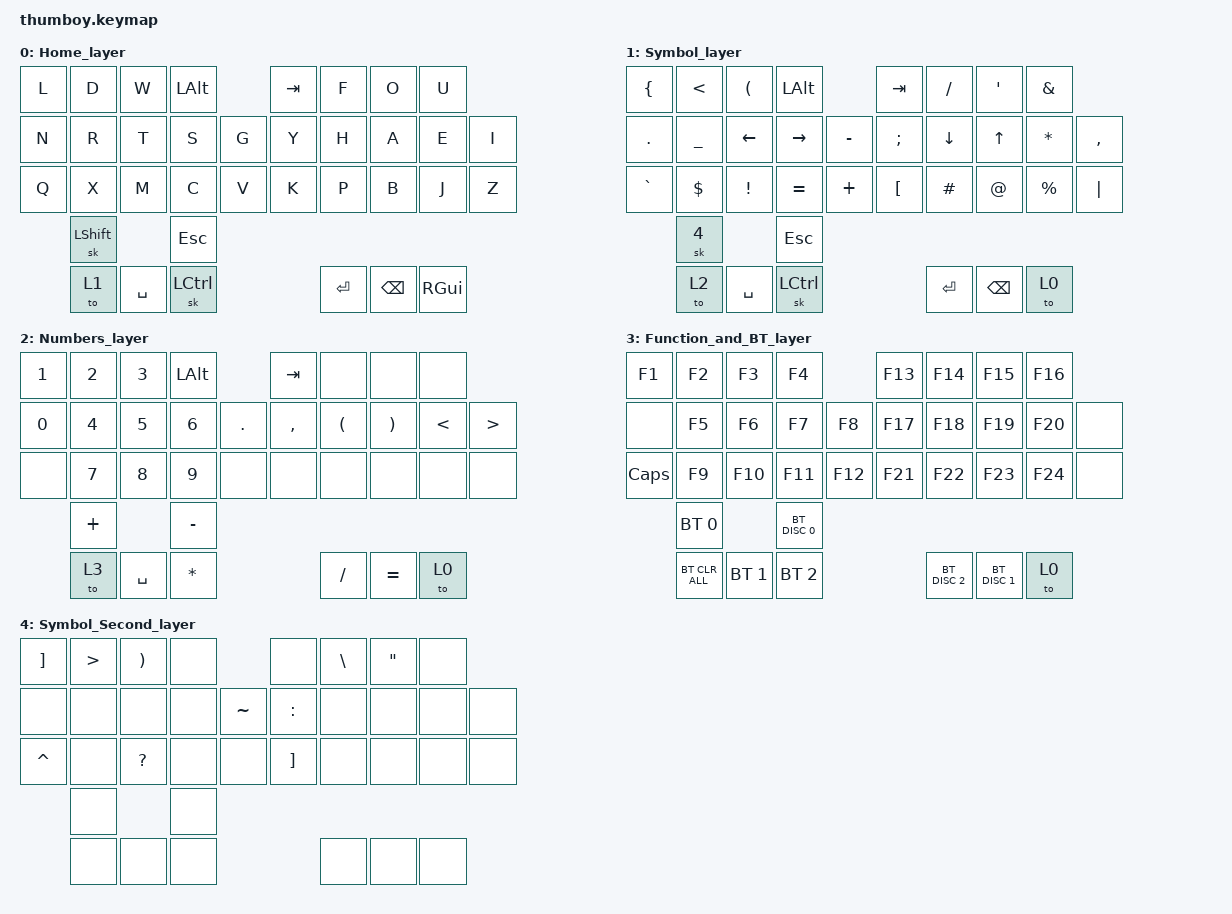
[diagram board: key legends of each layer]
/*
 * Copyright (c) 2020 The ZMK Contributors
 *
 * SPDX-License-Identifier: MIT
 */


/ {
        macros {
                email1: email1 {
                        compatible = "zmk,behavior-macro-one-param";
                        #binding-cells = <1>;
                        wait-ms = <30>;
                        tap-ms = <30>;
                        bindings
                                = <&macro_tap &kp s &kp l &kp a &kp m &kp d &kp u &kp n &kp k &kp a &kp b &kp NUMBER_1 &kp NUMBER_7 &kp AT_SIGN &kp g &kp m &kp a &kp i &kp l &kp DOT &kp c &kp o &kp m>
                                ;
                };

                email2: email2 {
                        compatible = "zmk,behavior-macro-one-param";
                        #binding-cells = <1>;
                        wait-ms = <30>;
                        tap-ms = <30>;
                        bindings
                                = <&macro_tap &kp b &kp i &kp s &kp h &kp o &kp a &kp m &kp m &kp NUMBER_0 &kp NUMBER_0 &kp NUMBER_0 &kp NUMBER_7 &kp AT_SIGN &kp a &kp M &kp l &kp p &kp i &kp n &kp e &kp s &kp d &kp DOT &kp o &kp r &kp g>
                                ;
                };

                email3: email3 {
                        compatible = "zmk,behavior-macro-one-param";
                        #binding-cells = <1>;
                        wait-ms = <30>;
                        tap-ms = <30>;
                        bindings
                                = <&macro_tap &kp a &kp m &kp m &kp o &kp n &kp DOT &kp l &kp DOT &kp b &kp i &kp s &kp h &kp o &kp p &kp AT_SIGN &kp g &kp m &kp a &kp i &kp l &kp DOT &kp c &kp o &kp m>
                                ;
                };
                
        };
};


 #define Home 0
#define Symbol 1
#define Numbers 2
#define Function_and_BT 3
#define Uppercase 4

#include <behaviors.dtsi>
#include <dt-bindings/zmk/keys.h>
#include <dt-bindings/zmk/bt.h>

/ {
        keymap {
                compatible = "zmk,keymap";

//---------------------------------------------------------------------

                Home_layer {
                        bindings = <
                                &kp L        &kp D        &kp W        &kp LEFT_ALT        &kp TAB        &kp F        &kp O        &kp U

                                &kp N        &kp R        &kp T        &kp S        &kp G        &kp Y        &kp H        &kp A        &kp E        &kp I

                                &kp Q        &kp X        &kp M        &kp C        &kp V        &kp K        &kp P        &kp B        &kp J        &kp Z

                                                &sk LEFT_SHIFT        &kp ESCAPE
                                                &to 1        &kp SPACE        &sk LEFT_CONTROL        &kp ENTER        &kp BACKSPACE        &kp RIGHT_GUI
                        >;
                };

//---------------------------------------------------------------------

                Symbol_layer {
                        bindings = <
                                &kp LEFT_BRACE        &kp LESS_THAN        &kp LEFT_PARENTHESIS        &kp LEFT_ALT        &kp TAB        &kp SLASH        &kp SINGLE_QUOTE        &kp AMPERSAND        &kp DOT        &kp UNDERSCORE        &kp LEFT_ARROW        &kp RIGHT_ARROW        &kp MINUS        &kp SEMICOLON        &kp DOWN_ARROW        &kp UP_ARROW        &kp ASTERISK        &kp COMMA        &kp GRAVE        &kp DOLLAR        &kp EXCLAMATION        &kp EQUAL        &kp PLUS        &kp LEFT_BRACKET        &kp HASH        &kp AT_SIGN        &kp PERCENT        &kp PIPE
   
                                                &sk 4        &kp ESCAPE       
                                                &to 2        &kp SPACE        &sk LEFT_CONTROL        &kp ENTER        &kp BACKSPACE        &to 0
                        >;
                };

//-----------------------------------------------------------

                Numbers_layer {
                        bindings = <
                                &kp NUMBER_1        &kp NUMBER_2        &kp NUMBER_3        &kp LEFT_ALT        &kp TAB        &none        &none        &none
                                &kp NUMBER_0        &kp NUMBER_4        &kp NUMBER_5        &kp NUMBER_6        &kp DOT        &kp COMMA        &kp LEFT_PARENTHESIS        &kp RIGHT_PARENTHESIS        &kp LESS_THAN        &kp GREATER_THAN       
                                &none        &kp NUMBER_7        &kp NUMBER_8        &kp NUMBER_9        &none        &none        &none        &none        &none        &none

                                                &kp PLUS        &kp MINUS
                                                &to 3        &kp SPACE        &kp ASTERISK        &kp SLASH        &kp EQUAL        &to 0
                        >;
                };

//-----------------------------------------------------------------------------

                Function_and_BT_layer {
                        bindings = <
                                &kp F1        &kp F2        &kp F3        &kp F4        &kp F13        &kp F14        &kp F15        &kp F16       
                                &none        &kp F5        &kp F6        &kp F7        &kp F8        &kp F17         &kp F18        &kp F19        &kp F20        &none
                                &kp CAPS        &kp F9        &kp F10        &kp F11        &kp F12        &kp F21        &kp F22        &kp F23        &kp F24        &none

                                                &bt BT_SEL 0        &bt BT_DISC 0
                                                &bt BT_CLR_ALL        &bt BT_SEL 1        &bt BT_SEL 2        &bt BT_DISC 2        &bt BT_DISC 1 &to 0
                        >;
                };

//------------------------------------------------------------------------

        Symbol_Second_layer {
                        bindings = <
                                &kp RIGHT_BRACKET        &kp GREATER_THAN        &kp RIGHT_PARENTHESIS        &none         &none         &kp BACKSLASH        &kp DOUBLE_QUOTES        &none
                                &none         &none         &none         &none         &kp TILDE         &kp COLON        &none         &none         &none         &none
                                &kp CARET         &none         &kp QUESTION        &none         &none         &kp RIGHT_BRACKET        &none         &none         &none         &none
                                                &none         &none
                                                &none         &none         &none         &none        &none        &none 
                        >;
                };

        };
};
